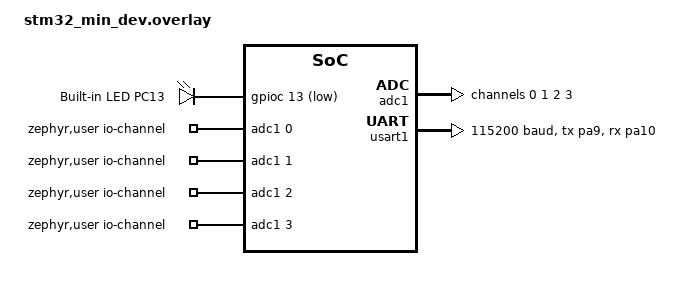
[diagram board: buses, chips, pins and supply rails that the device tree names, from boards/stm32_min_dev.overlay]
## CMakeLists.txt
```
cmake_minimum_required(VERSION 3.20.0)
find_package(Zephyr REQUIRED HINTS $ENV{ZEPHYR_BASE})
project(test_adc)

target_sources(app PRIVATE src/main.c)
```

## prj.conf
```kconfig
# ADC test — UART console ENABLED pe USART1 (PA9/PA10)
# Printează valorile raw ADC ca text, citibil direct în PuTTY pe COM11 via GPIO16

CONFIG_GPIO=y
CONFIG_ADC=y
CONFIG_SERIAL=y

# Activeaza consola pe USART1 (PA9 TX = GPIO16 RX pe ESP32)
CONFIG_CONSOLE=y
CONFIG_UART_CONSOLE=y
CONFIG_LOG=y
CONFIG_LOG_DEFAULT_LEVEL=3

# Scoate bannere inutile
CONFIG_BOOT_BANNER=n
```

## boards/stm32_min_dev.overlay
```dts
/*
 * Refolosim overlay-ul de la stm32_app — acelasi pinout
 */

/* PA0-PA3: ADC1 flex sensors */
&adc1 {
	status = "okay";
	#address-cells = <1>;
	#size-cells = <0>;

	channel@0 { reg = <0>; zephyr,gain = "ADC_GAIN_1"; zephyr,reference = "ADC_REF_INTERNAL"; zephyr,acquisition-time = <ADC_ACQ_TIME_DEFAULT>; zephyr,resolution = <12>; };
	channel@1 { reg = <1>; zephyr,gain = "ADC_GAIN_1"; zephyr,reference = "ADC_REF_INTERNAL"; zephyr,acquisition-time = <ADC_ACQ_TIME_DEFAULT>; zephyr,resolution = <12>; };
	channel@2 { reg = <2>; zephyr,gain = "ADC_GAIN_1"; zephyr,reference = "ADC_REF_INTERNAL"; zephyr,acquisition-time = <ADC_ACQ_TIME_DEFAULT>; zephyr,resolution = <12>; };
	channel@3 { reg = <3>; zephyr,gain = "ADC_GAIN_1"; zephyr,reference = "ADC_REF_INTERNAL"; zephyr,acquisition-time = <ADC_ACQ_TIME_DEFAULT>; zephyr,resolution = <12>; };
};

/* USART1 PA9 TX (→ GPIO16 ESP32) / PA10 RX — consola + text ADC */
&usart1 {
	status = "okay";
	current-speed = <115200>;
	pinctrl-0 = <&usart1_tx_pa9 &usart1_rx_pa10>;
	pinctrl-names = "default";
};

&usart3 { status = "disabled"; };

&flash0 { reg = <0x08000000 0x20000>; };

&pinctrl { swj-cfg = "jtag-disable"; };

/ {
	chosen {
		zephyr,console = &usart1;
		zephyr,shell-uart = &usart1;
	};

	aliases { led0 = &led_builtin; };
	leds {
		compatible = "gpio-leds";
		led_builtin: led_0 {
			gpios = <&gpioc 13 GPIO_ACTIVE_LOW>;
			label = "Built-in LED PC13";
		};
	};
	zephyr,user {
		io-channels = <&adc1 0>, <&adc1 1>, <&adc1 2>, <&adc1 3>;
	};
};
```

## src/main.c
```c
/*
 * test_adc — STM32 ADC Diagnostic
 *
 * Citeste 4 flex sensors (PA0-PA3) si trimite valorile ca ASCII simplu
 * pe USART1 (PA9 TX) la 115200 baud, la fiecare 500ms.
 *
 * Citire in PuTTY: conecteaza-te pe portul COM care are PA9 -> GPIO16 ESP32
 * Output asteptat:
 *   ADC0=1234  ADC1=0567  ADC2=2048  ADC3=3891  [ADC OK]
 *   sau:
 *   ADC0=0000  ADC1=0000  ADC2=0000  ADC3=0000  [INIT FAIL]
 *
 * LED PC13:
 *   Aprins fix (3s) = test pornit
 *   Clipeste lent (500ms) = ADC init esuat, toate valorile = 0
 *   Clipeste rapid (100ms) = ADC OK, valorile sunt reale
 */

#include <zephyr/kernel.h>
#include <zephyr/device.h>
#include <zephyr/drivers/adc.h>
#include <zephyr/drivers/gpio.h>
#include <zephyr/logging/log.h>
#include <stdio.h>

LOG_MODULE_REGISTER(test_adc, LOG_LEVEL_INF);

#define NUM_CH 4U

static const struct adc_dt_spec adc_ch[NUM_CH] = {
    ADC_DT_SPEC_GET_BY_IDX(DT_PATH(zephyr_user), 0),
    ADC_DT_SPEC_GET_BY_IDX(DT_PATH(zephyr_user), 1),
    ADC_DT_SPEC_GET_BY_IDX(DT_PATH(zephyr_user), 2),
    ADC_DT_SPEC_GET_BY_IDX(DT_PATH(zephyr_user), 3),
};

static const struct gpio_dt_spec led =
    GPIO_DT_SPEC_GET(DT_ALIAS(led0), gpios);

int main(void)
{
    /* LED init */
    if (device_is_ready(led.port)) {
        gpio_pin_configure_dt(&led, GPIO_OUTPUT_INACTIVE);
        /* Aprinde LED 3s = test pornit */
        gpio_pin_set_dt(&led, 1);
        k_msleep(3000);
        gpio_pin_set_dt(&led, 0);
    }

    LOG_INF("=== GloveAssist ADC Test ===");
    LOG_INF("Citesc PA0(ADC0) PA1(ADC1) PA2(ADC2) PA3(ADC3)");
    LOG_INF("Fiecare linie = 1 citire (500ms interval)");

    /* ADC init */
    bool adc_ok = true;
    for (uint8_t i = 0U; i < NUM_CH; i++) {
        if (!adc_is_ready_dt(&adc_ch[i])) {
            LOG_ERR("ADC ch%u NOT READY", i);
            adc_ok = false;
        } else {
            int r = adc_channel_setup_dt(&adc_ch[i]);
            if (r < 0) {
                LOG_ERR("ADC ch%u setup failed: %d", i, r);
                adc_ok = false;
            } else {
                LOG_INF("ADC ch%u OK", i);
            }
        }
    }

    if (!adc_ok) {
        LOG_ERR("ADC INIT ESUAT — verificati overlay-ul si pinii PA0-PA3");
    } else {
        LOG_INF("ADC init complet — incep citirile...");
    }

    /* Main loop */
    uint32_t sample = 0U;
    while (1) {
        int16_t val[NUM_CH] = {0, 0, 0, 0};

        if (adc_ok) {
            for (uint8_t i = 0U; i < NUM_CH; i++) {
                int16_t v = 0;
                struct adc_sequence seq = {
                    .buffer      = &v,
                    .buffer_size = sizeof(v),
                };
                adc_sequence_init_dt(&adc_ch[i], &seq);
                if (adc_read_dt(&adc_ch[i], &seq) == 0) {
                    val[i] = v;
                }
            }
        }

        /* Printeaza ca text simplu — citibil direct in PuTTY */
        LOG_INF("#%04u  ADC0=%4d  ADC1=%4d  ADC2=%4d  ADC3=%4d  %s",
                sample++,
                val[0], val[1], val[2], val[3],
                adc_ok ? "[OK]" : "[FAIL]");

        /* LED: lent=fail, rapid=ok */
        if (device_is_ready(led.port)) {
            int blink_ms = adc_ok ? 100 : 500;
            gpio_pin_set_dt(&led, 1);
            k_msleep(blink_ms);
            gpio_pin_set_dt(&led, 0);
            k_msleep(500 - blink_ms);
        } else {
            k_msleep(500);
        }
    }

    return 0;
}
```
